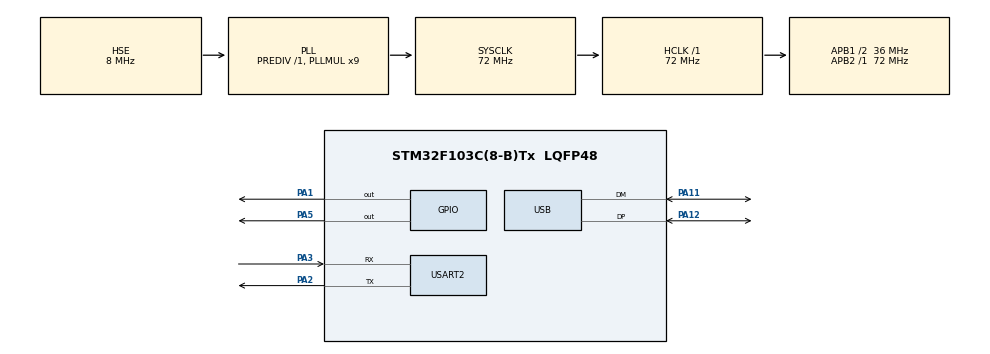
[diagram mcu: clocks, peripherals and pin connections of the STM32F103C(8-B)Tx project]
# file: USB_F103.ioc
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Mcu.Family=STM32F1
Mcu.Name=STM32F103C(8-B)Tx
Mcu.Package=LQFP48
NVIC.PriorityGroup=NVIC_PRIORITYGROUP_4
NVIC.USART2_IRQn=true\:0\:0\:false\:false\:true\:true\:true\:true
NVIC.USB_LP_CAN1_RX0_IRQn=true\:0\:0\:false\:false\:true\:false\:true\:true
PA1.GPIO_Speed=GPIO_SPEED_FREQ_LOW
PA1.Signal=GPIO_Output
PA11.Mode=Device
PA11.Signal=USB_DM
PA12.Mode=Device
PA12.Signal=USB_DP
PA13.Mode=Serial_Wire
PA13.Signal=SYS_JTMS-SWDIO
PA14.Mode=Serial_Wire
PA14.Signal=SYS_JTCK-SWCLK
PA2.Mode=Asynchronous
PA2.Signal=USART2_TX
PA3.Mode=Asynchronous
PA3.Signal=USART2_RX
PA5.Signal=GPIO_Output
PD0-OSC_IN.Mode=HSE-External-Oscillator
PD0-OSC_IN.Signal=RCC_OSC_IN
PD1-OSC_OUT.Mode=HSE-External-Oscillator
PD1-OSC_OUT.Signal=RCC_OSC_OUT
ProjectManager.HeapSize=0x200
ProjectManager.StackSize=0x400
ProjectManager.TargetToolchain=STM32CubeIDE
RCC.AHBFreq_Value=72000000
RCC.APB1CLKDivider=RCC_HCLK_DIV2
RCC.APB1Freq_Value=36000000
RCC.APB1TimFreq_Value=72000000
RCC.APB2Freq_Value=72000000
RCC.APB2TimFreq_Value=72000000
RCC.EnbaleCSS=true
RCC.HCLKFreq_Value=72000000
RCC.PLLMUL=RCC_PLL_MUL9
RCC.PLLSourceVirtual=RCC_PLLSOURCE_HSE
RCC.SYSCLKFreq_VALUE=72000000
RCC.SYSCLKSource=RCC_SYSCLKSOURCE_PLLCLK
RCC.USBFreq_Value=48000000
RCC.USBPrescaler=RCC_USBCLKSOURCE_PLL_DIV1_5
USART2.VirtualMode=VM_ASYNC
USART2.WordLength=WORDLENGTH_9B
USB_DEVICE.CLASS_NAME_FS=CDC
USB_DEVICE.VirtualMode=Cdc
USB_DEVICE.VirtualModeFS=Cdc_FS
VP_USB_DEVICE_VS_USB_DEVICE_CDC_FS.Mode=CDC_FS
board=custom

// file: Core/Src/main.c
/* USER CODE BEGIN Header */
/**
  ******************************************************************************
  * @file           : main.c
  * @brief          : Main program body
  ******************************************************************************
  * @attention
  *
  * Copyright (c) 2025 STMicroelectronics.
  * All rights reserved.
  *
  * This software is licensed under terms that can be found in the LICENSE file
  * in the root directory of this software component.
  * If no LICENSE file comes with this software, it is provided AS-IS.
  *
  ******************************************************************************
  */
/* USER CODE END Header */
#include "main.h"
#include "usb_device.h"

/* USER CODE BEGIN Includes */
#include "usbd_cdc_if.h"
/* USER CODE END Includes */

UART_HandleTypeDef huart2;

/* USER CODE BEGIN PV */
uint8_t TxBuffer[1024] = {0};
uint16_t TxBufferLen = sizeof(TxBuffer);

uint8_t RxBuffer[1024] = {0};
uint8_t RxBuffertemp[1024] = {0};
uint16_t RxBufferLen = sizeof(RxBuffer);
uint16_t RxMessageLen = 0;
uint16_t RxMessageLentemp = 0;

struct UART_settings
{
	uint32_t baudrate;
	uint8_t stopbits;
	uint8_t parity;
	uint8_t datalen;
};
struct UART_settings uart_settings_external = {.baudrate = 9600, .datalen = 8, .parity = 0, .stopbits = 0};

UART_InitTypeDef uart_settings_internal = {.BaudRate = 9600, .WordLength = UART_WORDLENGTH_8B, .StopBits = UART_STOPBITS_1, \
										   .Parity = UART_PARITY_NONE, .Mode = UART_MODE_TX_RX, .HwFlowCtl = UART_HWCONTROL_NONE, \
										   .OverSampling = UART_OVERSAMPLING_16};

extern uint8_t flag_rx_settings;
extern uint16_t len_rx_settings;

extern uint8_t buf_rx_message[1024];
extern uint16_t len_rx_message;
extern uint8_t flag_rx_message;

extern uint8_t flag_rx_controlline;
/* USER CODE END PV */

void SystemClock_Config(void);
static void MX_GPIO_Init(void);
static void MX_USART2_UART_Init(void);

int main(void)
{

  /* MCU Configuration--------------------------------------------------------*/

  /* Reset of all peripherals, Initializes the Flash interface and the Systick. */
  HAL_Init();

  /* Configure the system clock */
  SystemClock_Config();

  /* Initialize all configured peripherals */
  MX_GPIO_Init();
  MX_USB_DEVICE_Init();
  MX_USART2_UART_Init();

  /* Infinite loop */
  /* USER CODE BEGIN WHILE */
  while (1)
  {
	  //CDC_Transmit_FS(TxBuffer, TxBufferLen);
      //HAL_Delay(100);

	  if (flag_rx_settings)
	  {
		  memset(TxBuffer, '\0', TxBufferLen);
		  sprintf((char *)TxBuffer, "Baudrate: %ld; stopbits: %d; parity: %d; datalen: %d; settingslen: %d\r\n",\
				  uart_settings_external.baudrate, uart_settings_external.stopbits, uart_settings_external.parity, uart_settings_external.datalen, len_rx_settings);
		  CDC_Transmit_FS(TxBuffer, strlen((char *)TxBuffer));
		  len_rx_settings = 0;
		  flag_rx_settings = 0;

		  MX_USART2_UART_Init();
	  }

	  if (flag_rx_message)
	  {
		  CDC_Transmit_FS(buf_rx_message, len_rx_message);
		  HAL_UART_Transmit(&huart2, buf_rx_message, len_rx_message, 100);
		  len_rx_message = 0;
		  flag_rx_message = 0;
	  }

	  if (RxMessageLen)
	  {
		  RxMessageLentemp = RxMessageLen;
		  memcpy (RxBuffertemp, RxBuffer, RxMessageLentemp);
		  UART_Start_Receive_IT (&huart2, RxBuffer, RxBufferLen);
		  RxMessageLen = 0;

		  CDC_Transmit_FS(RxBuffertemp, RxMessageLentemp);
	  }

	  HAL_Delay(100);
    /* USER CODE END WHILE */

  }
}

void SystemClock_Config(void)
{
  RCC_OscInitTypeDef RCC_OscInitStruct = {0};
  RCC_ClkInitTypeDef RCC_ClkInitStruct = {0};
  RCC_PeriphCLKInitTypeDef PeriphClkInit = {0};

  /** Initializes the RCC Oscillators according to the specified parameters
  * in the RCC_OscInitTypeDef structure.
  */
  RCC_OscInitStruct.OscillatorType = RCC_OSCILLATORTYPE_HSE;
  RCC_OscInitStruct.HSEState = RCC_HSE_ON;
  RCC_OscInitStruct.HSEPredivValue = RCC_HSE_PREDIV_DIV1;
  RCC_OscInitStruct.HSIState = RCC_HSI_ON;
  RCC_OscInitStruct.PLL.PLLState = RCC_PLL_ON;
  RCC_OscInitStruct.PLL.PLLSource = RCC_PLLSOURCE_HSE;
  RCC_OscInitStruct.PLL.PLLMUL = RCC_PLL_MUL9;
  if (HAL_RCC_OscConfig(&RCC_OscInitStruct) != HAL_OK)
  {
    Error_Handler();
  }

  /** Initializes the CPU, AHB and APB buses clocks
  */
  RCC_ClkInitStruct.ClockType = RCC_CLOCKTYPE_HCLK|RCC_CLOCKTYPE_SYSCLK
                              |RCC_CLOCKTYPE_PCLK1|RCC_CLOCKTYPE_PCLK2;
  RCC_ClkInitStruct.SYSCLKSource = RCC_SYSCLKSOURCE_PLLCLK;
  RCC_ClkInitStruct.AHBCLKDivider = RCC_SYSCLK_DIV1;
  RCC_ClkInitStruct.APB1CLKDivider = RCC_HCLK_DIV2;
  RCC_ClkInitStruct.APB2CLKDivider = RCC_HCLK_DIV1;

  if (HAL_RCC_ClockConfig(&RCC_ClkInitStruct, FLASH_LATENCY_2) != HAL_OK)
  {
    Error_Handler();
  }
  PeriphClkInit.PeriphClockSelection = RCC_PERIPHCLK_USB;
  PeriphClkInit.UsbClockSelection = RCC_USBCLKSOURCE_PLL_DIV1_5;
  if (HAL_RCCEx_PeriphCLKConfig(&PeriphClkInit) != HAL_OK)
  {
    Error_Handler();
  }

  /** Enables the Clock Security System
  */
  HAL_RCC_EnableCSS();
}

static void MX_USART2_UART_Init(void)
{

  /* USER CODE BEGIN USART2_Init 0 */
	if (uart_settings_external.baudrate)
		uart_settings_internal.BaudRate = uart_settings_external.baudrate;

	switch (uart_settings_external.datalen)
	{
		case 9:
			uart_settings_internal.WordLength = UART_WORDLENGTH_9B;
		break;
		default:
			uart_settings_internal.WordLength = UART_WORDLENGTH_8B;
		break;
	}

	switch (uart_settings_external.parity)
	{
		case 1:
			uart_settings_internal.Parity = UART_PARITY_ODD;
		break;
		case 2:
			uart_settings_internal.Parity = UART_PARITY_EVEN;
		break;
		default:
			uart_settings_internal.Parity = UART_PARITY_NONE;
		break;
	}

	switch (uart_settings_external.stopbits)
	{
		case 2:
			uart_settings_internal.StopBits = UART_STOPBITS_2;
		break;
		default:
			uart_settings_internal.StopBits = UART_STOPBITS_1;
		break;
	}

  /* USER CODE END USART2_Init 0 */

  /* USER CODE BEGIN USART2_Init 1 */
	if(0)
	{
  /* USER CODE END USART2_Init 1 */
  huart2.Instance = USART2;
  huart2.Init.BaudRate = 115200;
  huart2.Init.WordLength = UART_WORDLENGTH_9B;
  huart2.Init.StopBits = UART_STOPBITS_1;
  huart2.Init.Parity = UART_PARITY_NONE;
  huart2.Init.Mode = UART_MODE_TX_RX;
  huart2.Init.HwFlowCtl = UART_HWCONTROL_NONE;
  huart2.Init.OverSampling = UART_OVERSAMPLING_16;
  if (HAL_UART_Init(&huart2) != HAL_OK)
  {
    Error_Handler();
  }
  /* USER CODE BEGIN USART2_Init 2 */
	}
	else
	{
		  huart2.Instance = USART2;
		  huart2.Init = uart_settings_internal;
		  if (HAL_UART_Init(&huart2) != HAL_OK)
		  {
		    Error_Handler();
		  }
		  UART_Start_Receive_IT (&huart2, RxBuffer, RxBufferLen);
		  //huart2.pRxBuffPtr = RxBuffer;
	}
  /* USER CODE END USART2_Init 2 */

}

static void MX_GPIO_Init(void)
{
  GPIO_InitTypeDef GPIO_InitStruct = {0};

  /* GPIO Ports Clock Enable */
  __HAL_RCC_GPIOD_CLK_ENABLE();
  __HAL_RCC_GPIOA_CLK_ENABLE();

  /*Configure GPIO pin Output Level */
  HAL_GPIO_WritePin(GPIOA, GPIO_PIN_1|GPIO_PIN_5, GPIO_PIN_RESET);

  /*Configure GPIO pins : PA1 PA5 */
  GPIO_InitStruct.Pin = GPIO_PIN_1|GPIO_PIN_5;
  GPIO_InitStruct.Mode = GPIO_MODE_OUTPUT_PP;
  GPIO_InitStruct.Pull = GPIO_NOPULL;
  GPIO_InitStruct.Speed = GPIO_SPEED_FREQ_LOW;
  HAL_GPIO_Init(GPIOA, &GPIO_InitStruct);

}

void Error_Handler(void)
{
  __disable_irq();
  while (1)
  {
  }
}
